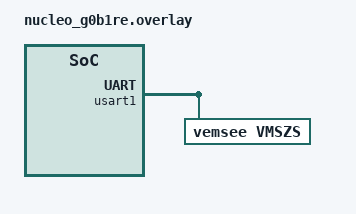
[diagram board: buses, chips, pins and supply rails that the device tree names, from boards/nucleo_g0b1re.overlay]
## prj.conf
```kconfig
CONFIG_STDOUT_CONSOLE=y
# CONFIG_SERIAL=y
CONFIG_I2C=y
CONFIG_SHT3XD=y
CONFIG_KX022=y
CONFIG_VMSZS=y
CONFIG_UART_INTERRUPT_DRIVEN=y
CONFIG_SENSOR=y
CONFIG_SHELL=y
CONFIG_SETTINGS=y
CONFIG_NVS=y
CONFIG_FLASH=y
CONFIG_NEWLIB_LIBC=y
CONFIG_NEWLIB_LIBC_FLOAT_PRINTF=y
CONFIG_KX022_TRIGGER_GLOBAL_THREAD=y
CONFIG_KX022_TRIGGER=y
# CONFIG_LOG=y
CONFIG_CBPRINTF_FP_SUPPORT=y
# CONFIG_HDX8AGH_MODUL_2=y
CONFIG_I2C=y
# CONFIG_I2C_SHELL =y
```

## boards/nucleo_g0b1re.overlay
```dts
&usart1 {
	vmszs {
		compatible = "vemsee,vmszs";
		label = "VMSZS";
		status= "okay";
	};
};
```

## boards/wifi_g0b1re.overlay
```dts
/*
 * Copyright (c) 2021 G-Technologies Sdn. Bhd.
 *
 * SPDX-License-Identifier: Apache-2.0
 */
 &usart3 {
	hdx8agh {
		compatible = "huidkj,hdx8agh";
		label = "HD8AGH";
		status= "okay";
	};
};
```

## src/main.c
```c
/*
 * Copyright (c) 2021 G-Technologies Sdn. Bhd.
 *
 * SPDX-License-Identifier: Apache-2.0
 */

#include <zephyr.h>
#include <stdio.h>
#include <stdlib.h>
#include <device.h>
#include <sys/printk.h>
#include <drivers/sensor.h>
#include <drivers/sensor/vmszs.h>
#include <settings/settings.h>
#include <shell/shell.h>
#include <sys/reboot.h>
#include <sys/ring_buffer.h>
#include <drivers/gpio.h>
#include <init.h>
#include <math.h>
#include <sys/util.h>
#include <inttypes.h>
#include <drivers/sensor/kx022.h>

#define SW0_NODE	DT_ALIAS(sw0)
#if !DT_NODE_HAS_STATUS(SW0_NODE, okay)
#error "Unsupported board: sw0 devicetree alias is not defined"
#endif

static const struct gpio_dt_spec button = GPIO_DT_SPEC_GET_OR(SW0_NODE, gpios,
							      {0});
static struct gpio_callback button_cb_data;

#define PI		3.14159265358979323846
#define GRAVITY  9.80665
#define SAMPLE_ANGLE_BUFF 60
#define CALIBRATING_BUFF  60
#define RB_BUF_SIZE	0x00000200
#define RAD_TO_DEG 57.295779513082320876798154814105
#define GPIOS_PORT(do) DT_GPIO_LABEL(DT_NODELABEL(do), gpios)
#define GPIOS_PIN(do) DT_GPIO_PIN(DT_NODELABEL(do), gpios)
#define GPIOS_FLAGS(do) DT_GPIO_FLAGS(DT_NODELABEL(do), gpios)
#define ANGLE_OFFSET 0.05
#define _ON true
#define _OFF false
#define TURN_DO_(do, on)                                                       			   \
	gpio_pin_configure(device_get_binding(GPIOS_PORT(do)),                     		   \
					   GPIOS_PIN(do),                                          \
					   (on ? GPIO_OUTPUT_ACTIVE : GPIO_OUTPUT_INACTIVE) |      \
						   GPIOS_FLAGS(do))

struct k_timer trigger_timer;
struct k_sem trigger_sem;
struct sensor_value val[1];
struct sensor_value temp, hum;
struct sensor_value accel[3];

 int toff = 0;
 int hoff = 0;
 int soff = 0;

static uint64_t timer;
static double_t mbuff[3];
static float_t v[3];
#define DATA_READY_BUFF_SIZE 50

typedef struct Data_Ready{
	int16_t x[DATA_READY_BUFF_SIZE];
	int16_t y[DATA_READY_BUFF_SIZE];
	int16_t z[DATA_READY_BUFF_SIZE];
	int64_t timestamp;

}Data_Ready_t;

typedef struct steady_state{
	int16_t x;
	int16_t y;
	int16_t z;
}steady_state_t;

typedef struct accel_peak{
	int16_t x;
	int16_t y;
	int16_t z;
}accel_peak_t;

typedef struct sample_angle
{
	double_t ax[SAMPLE_ANGLE_BUFF];
	double_t ay[SAMPLE_ANGLE_BUFF];
	double_t az[SAMPLE_ANGLE_BUFF];
}sample_angle_t;

static struct {
	double_t mx,my,mz;
	double_t sx,sy,sz;

}acc_mean;

static sample_angle_t sample_ang;
static Data_Ready_t drdy;
static Data_Ready_t xfer_data;
static steady_state_t steady;
static accel_peak_t peak;
static bool STEADY_STATE_CALIBRATE = false;
static bool xfer_drdy = false;
struct k_sem drdy_sem;


static struct test_context
{
	struct k_work_delayable angle_sample_work;
	double_t angle;
	double_t angleX;
	double_t angleY;
	double_t angleZ;
	double_t originX;
	double_t originY;
	double_t originZ;
	double_t medianX;
	double_t medianY;
	double_t medianZ;
	double_t omedianX;
	double_t omedianY;
	double_t omedianZ;
	double_t velocity;
	double_t o_velocity;
	bool v_1st;
	double_t v_peak[3];

}ctx;

#define ACCEL_DEF_TIMER 60

struct last_axis_t{
	double_t x,y,z;
	double_t cx,cy,cz;
};

// struct accel_rb{
// 	struct ring_buf rb;
// 	uint32_t buffer[RB_BUF_SIZE];
// };



static struct last_axis_t last_axis;

// struct accel_rb a_rb;
uint16_t data_store[50];
static bool first_data = false;

struct settings_read_callback_params
{
	bool value_found;
	void *value;
};

RING_BUF_ITEM_DECLARE_POW2(a_rb,8);

void button_pressed(const struct device *dev, struct gpio_callback *cb,
		    uint32_t pins)
{
	memset(&last_axis,0,sizeof(last_axis));
	memset(&mbuff,0,sizeof(mbuff));
	first_data = false;
	// printk("Button pressed at %" PRIu3222 first data: %d\n", k_cycle_get_32(),first_data);

	printk("Button pressed at %" PRIu32 " \tfirst data: %d\n", k_cycle_get_32(),first_data);
}

void button_init(void)
{
	int ret;

	if (!device_is_ready(button.port)) {
		printk("Error: button device %s is not ready\n",
		       button.port->name);
		return;
	}

	ret = gpio_pin_configure_dt(&button, GPIO_INPUT);
	if (ret != 0) {
		printk("Error %d: failed to configure %s pin %d\n",
		       ret, button.port->name, button.pin);
		return;
	}

	ret = gpio_pin_interrupt_configure_dt(&button,
					      GPIO_INT_EDGE_TO_ACTIVE);

		if (ret != 0) {
		printk("Error %d: failed to configure interrupt on %s pin %d\n",
			ret, button.port->name, button.pin);
		return;
	}

	gpio_init_callback(&button_cb_data, button_pressed, BIT(button.pin));
	gpio_add_callback(button.port, &button_cb_data);
	printk("Set up button at %s pin %d\n", button.port->name, button.pin);

}
static int settings_read_callback(const char *key,
								  size_t len,
								  settings_read_cb read_cb,
								  void *cb_arg,
								  void *param)
{
	ssize_t num_read_bytes = MIN(len, 32);
	struct settings_read_callback_params *params = param;

	/* Process only the exact match and ignore descendants of the searched name
	 */
	if (settings_name_next(key, NULL) != 0)
	{
		return 0;
	}

	params->value_found = true;
	num_read_bytes = read_cb(cb_arg, params->value, num_read_bytes);

	return 0;
}

int config_save(char *settings_name, void *value, size_t len)
{
	return settings_save_one(settings_name, value, len);
}

int config_apply(char *settings_name, void *value)
{
	int err;
	struct settings_read_callback_params params = { .value_found = false,
													.value = value };

	err = settings_load_subtree_direct(settings_name,
									   settings_read_callback,
									   &params);

	return 0;
}

int config_init(void)
{
	int rc;

	rc = settings_subsys_init();
	if (rc)
	{
		return rc;
	}
		config_apply("sensor/temp", &toff);
		config_apply("sensor/humid", &hoff);
		config_apply("sensor/sound", &soff);

	config_save("sensor/temp", &toff, sizeof(toff));
	config_save("sensor/humid", &hoff, sizeof(hoff));
	config_save("sensor/sound", &soff, sizeof(soff));


	return 0;
}

void accel_rdry_handler(void)
{
	int ret;
	static int i = 0;
	struct sensor_value axis[3];
	const struct device *sensor = device_get_binding("KX022");
	static int k;
	static float tv =0,time,dt =0,test;
	ret =  sensor_sample_fetch_chan(sensor, SENSOR_CHAN_ACCEL_XYZ);

	if (ret == 0) {
		ret = sensor_channel_get(sensor, SENSOR_CHAN_ACCEL_XYZ, axis);
	}

	time = (k_uptime_get_32()-dt);

	v[0] = (time*(sensor_value_to_double(&axis[0])));
	// v[1] = (time*(sensor_value_to_double(&axis[1])));
	// v[2] = (time*(sensor_value_to_double(&axis[2])));
	v[1] = 	pow(sensor_value_to_double(&axis[0]),2)
		+
		pow(sensor_value_to_double(&axis[1]),2)
		+
		pow(sensor_value_to_double(&axis[1]),2);

	v[2] = sqrt(v[1]);//*time;

	v[1] =(sensor_value_to_double(&axis[1])*9806.65)/314.16;
	v[0] =(sensor_value_to_double(&axis[0])*9806.65)/314.16;
	test =(sensor_value_to_double(&axis[2])*9806.65)/314.16;
	v[2] = (v[2]  *9806.65)/314.16;
	// if(fabsf(v[1])>fabsf(test))
	// {
	// 	test = v[1];
	// }
	printf("VX:%f\tVY:%f\tVZ:%f\tV2:%f\r\n",v[0],v[1],test,v[2]);


	// printf("vx :%f\tvy:%f\tvz:%f\r\n",ctx.v_peak[0],ctx.v_peak[1],ctx.v_peak[2]);

	dt = k_uptime_get_32();
	drdy.x[i] = (int)(sensor_value_to_double(&axis[0]) *10000);
	drdy.y[i] = (int)(sensor_value_to_double(&axis[1]) *10000);
	drdy.z[i] = (int)(sensor_value_to_double(&axis[2]) *10000);
	drdy.timestamp = k_uptime_get_32();
	i++;
	if( i == DATA_READY_BUFF_SIZE )
	{
		memcpy(&xfer_data,&drdy,sizeof(drdy));
		xfer_drdy = true;
		i = 0;
	}
}
void accel_motion_handler(void)
{
	printf("Motion detected\r\n");
}
double angle_cal(struct sensor_value *axis)
{
	double_t dot,pro,sum;
	double_t powA,powB,magA,magB,angle;
	double_t cr;
	dot = 	(last_axis.x * last_axis.cx) +
	      	(last_axis.y * last_axis.cy) +
		(last_axis.z * last_axis.cz);

	powA =	pow(last_axis.x,2)+pow(last_axis.y,2)+pow(last_axis.z,2);

	powB =	pow(last_axis.cx,2) +
		pow(last_axis.cy,2) +
		pow(last_axis.cz,2);


	magA =	sqrt(powA);

	magB = 	sqrt(powB);

	// printf("magA %f \magB %f\r\n",(-1*pow(last_axis.cz,2)),pow(last_axis.cz,2));
	 return (acos(dot/(magA*magB)))*57.2958 ;

}
void accel_timer_handler(void)
{
	int count = 0;
	uint8_t size = 49;
	float_t vibration;
	int dt;
	static double_t tmp_v;
	static double_t origin;
	static uint8_t Origin_tmp = 0;

	if(xfer_drdy == true)
	{
		if(STEADY_STATE_CALIBRATE == false)
		{
			for (count =0;count<50;count++)
			{
				if(xfer_data.x[size-count] >steady.x)
				{
					steady.x = xfer_data.x[size-count];
					printf("\rsteady state x: %d\r\n",steady.x);
				}
				if(xfer_data.y[size-count] >steady.y)
				{
					steady.y = xfer_data.y[size-count];
					printf("\rsteady state y: %d\r\n",steady.y);
				}
				if((fabs)(xfer_data.z[size-count])>steady.z)
				{
					steady.z = (fabs)(xfer_data.z[size-count]);
					printf("\rsteady state z: %d\r\n",steady.z);
				}
			}
			STEADY_STATE_CALIBRATE = true;
		}

	// }
		else
		{
			for (count =0;count<50;count++)
			{
				if(xfer_data.x[size-count] >steady.x)
				{
					peak.x = xfer_data.x[size-count];

				}
				if(xfer_data.y[size-count] >steady.y)
				{
					peak.y = xfer_data.y[size-count];
					// printf("\rpeak y: %d\r\n",peak.y);
				}
				if((fabs)(xfer_data.z[size-count])>steady.z)
				{
					peak.z = (fabs)(xfer_data.z[size-count]);
					// printf("\rpeak z: %d\r\n",peak.z);
				}
				vibration =(float)sqrt((pow(xfer_data.x[size-count],2) + pow(xfer_data.y[size-count],2) + pow(xfer_data.z[size-count],2)));
				// dt = xfer_data.timestamp -ddt;
				vibration = (vibration/(2*PI*0.02))/10000;//(vibration *0.02);///10000;
				if(ctx.v_1st == false)
				{

					origin +=vibration;
					Origin_tmp++;

					if(Origin_tmp == 50)
					{
						ctx.o_velocity = origin/50;
						ctx.v_1st = true;
						Origin_tmp = 0;
					}
				}
				else{
				// printf("vibrationx %f\t DV %f\r\n",vibration,tmp_v-vibration);
				ctx.velocity = vibration;
				tmp_v = vibration;
				}
			}
			xfer_drdy = false;
		// vibration = ((double)peak.x*(0.02));
		// printf("peak x: %d\tpeak y: %d\tpeak z: %d\r\n",peak.x,peak.y,peak.z);

		}
	}

}




static double qsort_cmp(const void *a,const void *b)
{
	double aa = *(const double *)a;
	double bb = *(const double *)b;

	return (aa > bb) - (aa < bb);
}

void findMedian(void)
{
	qsort(sample_ang.ax,ARRAY_SIZE(sample_ang.ax),sizeof(double),qsort_cmp);
	qsort(sample_ang.ay,ARRAY_SIZE(sample_ang.ay),sizeof(double),qsort_cmp);
	qsort(sample_ang.az,ARRAY_SIZE(sample_ang.az),sizeof(double),qsort_cmp);

	if(SAMPLE_ANGLE_BUFF % 2 ==0)
	{
		ctx.medianX = (sample_ang.ax[SAMPLE_ANGLE_BUFF/2]) - ctx.originX;
		ctx.medianY = (sample_ang.ay[SAMPLE_ANGLE_BUFF/2]) - ctx.originY;
		ctx.medianZ = (sample_ang.az[SAMPLE_ANGLE_BUFF/2]) - ctx.originZ;
	}
	else{
		ctx.medianX = ((sample_ang.ax[SAMPLE_ANGLE_BUFF/2] - sample_ang.ax[SAMPLE_ANGLE_BUFF/2-1])/2.0) - ctx.originX;
		ctx.medianY = ((sample_ang.ay[SAMPLE_ANGLE_BUFF/2] - sample_ang.ay[SAMPLE_ANGLE_BUFF/2-1])/2.0) - ctx.originY;
		ctx.medianZ = ((sample_ang.az[SAMPLE_ANGLE_BUFF/2] - sample_ang.az[SAMPLE_ANGLE_BUFF/2-1])/2.0) - ctx.originZ;
	}

}
void findMean(void)
{
	uint8_t j =0;

	for(j=0;j<SAMPLE_ANGLE_BUFF;j++)
			{
				acc_mean.sx += sample_ang.ax[j] - ctx.originX;
				acc_mean.sy += sample_ang.ay[j] - ctx.originY;
				acc_mean.sz += sample_ang.az[j] - ctx.originZ;

			}

			ctx.angleX = acc_mean.sx/SAMPLE_ANGLE_BUFF;
			ctx.angleY = acc_mean.sy/SAMPLE_ANGLE_BUFF;
			ctx.angleZ = acc_mean.sz/SAMPLE_ANGLE_BUFF;

}
double round_up(double val)
{
	double_t ret;

	ret = (int)(val *10000 +0.5);

	return ret/10000;
}

double round_2up(double val)
{
	double_t ret;

	ret = (int)(val *10+0.05);

	return ret/10;
}
void accel_work(struct k_work *work)
{
	int ret;
	uint8_t gettype;
	uint32_t getdata[3];
	uint8_t getsize, getval;
	static struct sensor_value ag[3];
	double_t tilt_x,tilt_y,tilt_z;
	double_t pitch,roll,yaw;
	static double_t angle,tilt_x0,tilt_y0,tilt_z0;
	static uint8_t i =0;
	static uint8_t cal =0;
	float rx;
	int rxi;

	const struct device *sensor = device_get_binding("KX022");

	if (!device_is_ready(sensor)) {
		printf("Device kx022 device 1 is not ready\n");
		// sys_reboot(1);
		return 0;
	}
	ret =  sensor_sample_fetch_chan(sensor, SENSOR_CHAN_ACCEL_XYZ);

	if (ret == 0) {
		ret = sensor_channel_get(sensor, SENSOR_CHAN_ACCEL_XYZ, ag);
	}


	// rx =round_up(sensor_value_to_double(&ag[0]));
	// printf("sensor value %f, round up %f\r\n",sensor_value_to_double(&ag[0]),rx);
	if(first_data == false )
	{
		printf("Calibrating %d.....\r\n",cal);

		last_axis.x += sensor_value_to_double(&ag[0]);
		last_axis.y += sensor_value_to_double(&ag[1]);
		last_axis.z += sensor_value_to_double(&ag[2]);
		cal++;
		if(cal == CALIBRATING_BUFF)
		{
			memset(&sample_ang,0,sizeof(sample_ang));

			last_axis.x/CALIBRATING_BUFF;
			last_axis.y/CALIBRATING_BUFF;
			last_axis.z/CALIBRATING_BUFF;

			ctx.originX = atan(last_axis.x/sqrt(pow(round_up(last_axis.y),2)+(pow(round_up(last_axis.z),2)))) *RAD_TO_DEG;
			ctx.originY = atan(last_axis.y/sqrt(pow(round_up(last_axis.x),2)+(pow(round_up(last_axis.z),2)))) *RAD_TO_DEG;
			ctx.originZ = atan(last_axis.z/sqrt(pow(round_up(last_axis.x),2)+(pow(round_up(last_axis.y),2)))) *RAD_TO_DEG;
			first_data = true;
			cal =0;

		}

	}
	else{
		last_axis.cx = sensor_value_to_double(&ag[0]);
		last_axis.cy = sensor_value_to_double(&ag[1]);
		last_axis.cz = sensor_value_to_double(&ag[2]);
		angle +=angle_cal(&ag);
		// plane_angle();

		sample_ang.ax[i] = atan(last_axis.cx/sqrt(pow(round_up(last_axis.cy),2)+(pow(round_up(last_axis.cz),2)))) *RAD_TO_DEG; //pitch
		sample_ang.ay[i] = atan(last_axis.cy/sqrt(pow(round_up(last_axis.cx),2)+(pow(round_up(last_axis.cz),2)))) *RAD_TO_DEG; //roll
		sample_ang.az[i] = atan(last_axis.cz/sqrt(pow(round_up(last_axis.cx),2)+(pow(round_up(last_axis.cy),2)))) *RAD_TO_DEG; //yaw


		// printf("Angle from Origin :%.4f \tRaw angle[ x %.4f\ty%.2f\tz%.4f] \tRaw angle Origin[ x %.4f\ty%.2f\tz%.4f] \r\n",
		// 	ctx.angle,sample_ang.ax[i],sample_ang.ay[i],sample_ang.az[i],
		// 	sample_ang.ax[i] - tilt_x0,
		// 	sample_ang.ay[i] -tilt_y0,
		// 	sample_ang.az[i] -tilt_z0);


		i++;

		if(i == SAMPLE_ANGLE_BUFF)
		{

			findMedian();
			findMean();
			ctx.angle = angle/SAMPLE_ANGLE_BUFF;
			// printf("\r angle origin: %f angle each axis[ x %.4f\ty%.2f\tz%.4f]\r\n",
			// ctx.angle,ctx.angleX,ctx.angleY,ctx.angleZ);
			memset(&angle,0,sizeof(angle));
			memset(&acc_mean,0,sizeof(acc_mean));
			i = 0;

		}
	}

	k_work_reschedule(&ctx.angle_sample_work,K_MSEC(ACCEL_DEF_TIMER));
	// i++;
	// ret = ring_buf_item_get(&a_rb,&gettype,&getval,getdata,getsize);

	// printk("accel timer handler %f\r\n",getdata[0]);

}
void accel_sample(void)
{
	const struct device *sensor = device_get_binding("KX022");
	int rc;

	if (!device_is_ready(sensor)) {
		printf("Device kx022 device 1 is not ready\n");
		return 0;
	}

	rc = sensor_sample_fetch_chan(sensor, SENSOR_CHAN_ACCEL_XYZ);

	if (rc == 0) {
		rc = sensor_channel_get(sensor, SENSOR_CHAN_ACCEL_XYZ, accel);
	}
}
void sound(void)
{
	const struct device *dev =device_get_binding(DT_LABEL(DT_INST(0, vemsee_vmszs)));

	// int ret;


	if (!device_is_ready(dev)) {
		printk("sensor: device not found.\n");
		// sys_reboot(1);
		return 0;
	}
	// while (1) {
	sensor_sample_fetch(dev);
	if (sensor_channel_get(dev, SENSOR_CHAN_NOISE, val) != 0) {
			printk("sensor: channel get fail.\n");
			// return;
		}
	// printk("Sound %.2f dbA\r\n",sensor_value_to_double(&val[0]));
	// }

}

void sht3x(void)
{
	const struct device *dev = device_get_binding("SHT3XD");
	struct sensor_value last_temp, last_hum;

	int rc;


	if (!device_is_ready(dev)) {
		printk("\nCould not get SHT3XD device\n");
		// sys_reboot(1);
		return 0;
	}

	// printk(" get SHT3XD device\n");

	rc = sensor_sample_fetch(dev);
		if (rc == 0) {
			rc = sensor_channel_get(dev, SENSOR_CHAN_AMBIENT_TEMP,
						&temp);
			last_temp = temp;
		}
		if (rc == 0) {
			rc = sensor_channel_get(dev, SENSOR_CHAN_HUMIDITY,
						&hum);
			last_hum = hum;
		}
		if (rc != 0) {
			// printf("SHT3XD: failed: %d\n", rc);
			// hum = last_hum;
			// temp =last_temp;

		}
	// printk("/SHT3XD,%.2f,%0.2f/",
	// 	       sensor_value_to_double(&temp),
	// 	       sensor_value_to_double(&hum));


}
int main(void)
{
	struct sensor_trigger trig;
	struct sensor_trigger trig_motion;
	uint8_t rc;
	const struct device *sensor = device_get_binding("KX022");
	const struct device *sensor1 = device_get_binding("KX022_2");
	double_t lastmedX,lastmedY,lastmedZ;

	// int j =0;
	// uint8_t gettype;
	// uint32_t getdata[3];
	// uint8_t getsize, getval;

	trig.type = SENSOR_TRIG_DATA_READY;
	ctx.v_1st = false;

	trig_motion.type = SENSOR_TRIG_KX022_MOTION;

	button_init();
	memset(&ctx.v_peak,0,sizeof(ctx.v_peak));

	rc = sensor_trigger_set(sensor, &trig, accel_rdry_handler);

	rc = sensor_trigger_set(sensor1, &trig_motion, accel_motion_handler);

	config_init();

	k_timer_init(&trigger_timer,accel_timer_handler,NULL);
	k_timer_start(&trigger_timer,K_MSEC(ACCEL_DEF_TIMER),K_MSEC(ACCEL_DEF_TIMER));

	// ring_buf_init(&a_rb,sizeof(a_rb.buffer),a_rb.buffer);

	k_work_init_delayable(&ctx.angle_sample_work,accel_work);
	k_work_reschedule(&ctx.angle_sample_work,K_NO_WAIT);

	// k_sem_init(&drdy_sem,0,1);

	TURN_DO_(fan_switch, _ON);


	while(1)
	{

			// sound();
			// sht3x();
			accel_sample();

		// if ((fabs(ctx.medianX) <0.05))
		// 	{
		// 		ctx.medianX = 0 ;
		// 		// lastmedX =ctx.medianX;
		// 	}
		// if ((fabs(ctx.medianY) <0.05))
		// 	{
		// 		ctx.medianY = 0 ;
		// 		// lastmedX =ctx.medianX;
		// 	}
		// if ((fabs(ctx.medianZ) <0.05))
		// 	{
		// 		ctx.medianZ = 0 ;
		// 		// lastmedX =ctx.medianX;
		// 	}
		// // // else
		// // // 	{
		// // // 		ctx.medianX = lastmedX;
		// // // 	}
		double_t a,b,c;
		a =fabs(ctx.medianX);
		b = fabs(lastmedX);
		c = a-b;

		if ((fabs(c)>ANGLE_OFFSET))
		{
			mbuff[0] =round_2up(ctx.medianX);
		}

		a =fabs(ctx.medianY);
		b = fabs(lastmedY);
		c = a-b;

		 if((fabs(c)>ANGLE_OFFSET))
		{
			mbuff[1] = round_2up(ctx.medianY);
		}

		a =fabs(ctx.medianZ);
		b = fabs(lastmedZ);
		c = a-b;

		if((fabs(c)>ANGLE_OFFSET))
			{
				mbuff[2] = round_2up(ctx.medianZ);
			}



		// if(first_data == true){
		// 	printk("/*Sensor test,%.2f,%0.2f,%0.2f,%.5f,%0.5f,%.5f,%.5f,%0.3f,%.3f,%.3f,%0.2f,%.2f,%.2f,%f,%f,%f,%f*/\r\n",
		// 		sensor_value_to_double(&temp)+(toff),
		// 		sensor_value_to_double(&hum)+(hoff),
		// 		sensor_value_to_double(&val[0])+(soff),
		// 		sensor_value_to_double(&accel[0]),
		// 		sensor_value_to_double(&accel[1]),
		// 		sensor_value_to_double(&accel[2]),
		// 		ctx.angle,
		// 		ctx.angleX,
		// 		ctx.angleY,
		// 		ctx.angleZ,
		// 		// ctx.medianX,
		// 		// ctx.medianY,
		// 		// ctx.medianZ,
		// 		mbuff[0],
		// 		mbuff[1],
		// 		mbuff[2],//);
		// 		ctx.velocity-ctx.o_velocity,
		// 		ctx.v_peak[0],
		// 		ctx.v_peak[1],
		// 		ctx.v_peak[2]);

		// 	lastmedX =ctx.medianX;
		// 	lastmedY =ctx.medianY;
		// 	lastmedZ = ctx.medianZ;
		// 	// k_sleep(K_MSEC(500));
		// }
	}
}

static int cmd_temp_set(const struct shell *shell, size_t argc, char *argv[])
{

	int temp;
	char *ptr;

	temp = (int)strtol(argv[2], &ptr, 10);

	shell_print(shell, "old temp = %d", toff);
	settings_save_one(argv[1], &temp, sizeof(temp));

	config_apply(argv[1], &toff);
		shell_print(shell, "new temp = %d", toff);

	return 0;
}

static int cmd_hum_set(const struct shell *shell, size_t argc, char *argv[])
{

	int temp;
	char *ptr;

	temp = (int)strtol(argv[2], &ptr, 10);

	shell_print(shell, "old humidity = %d", hoff);
	settings_save_one(argv[1], &temp, sizeof(temp));

	config_apply(argv[1], &hoff);
		shell_print(shell, "new humidity = %d", hoff);

	return 0;
}
static int cmd_sound_set(const struct shell *shell, size_t argc, char *argv[])
{

	int temp;
	char *ptr;

	temp = (int)strtol(argv[2], &ptr, 10);

	shell_print(shell, "old sound = %d", soff);
	settings_save_one(argv[1], &temp, sizeof(temp));

	config_apply(argv[1], &soff);
		shell_print(shell, "new sound = %d", toff);

	return 0;
}


SHELL_STATIC_SUBCMD_SET_CREATE(smp_cmds,
	SHELL_CMD_ARG(tem, NULL, "Set temp offset", cmd_temp_set, 2, 2),
	SHELL_CMD_ARG(hmd, NULL, "Set humidity offset", cmd_hum_set, 2, 2),
	SHELL_CMD_ARG(snd, NULL, "Set sound offset", cmd_sound_set, 2, 2),
	SHELL_SUBCMD_SET_END);
SHELL_CMD_REGISTER(smp, &smp_cmds, "SMP shell commands", NULL);
```
